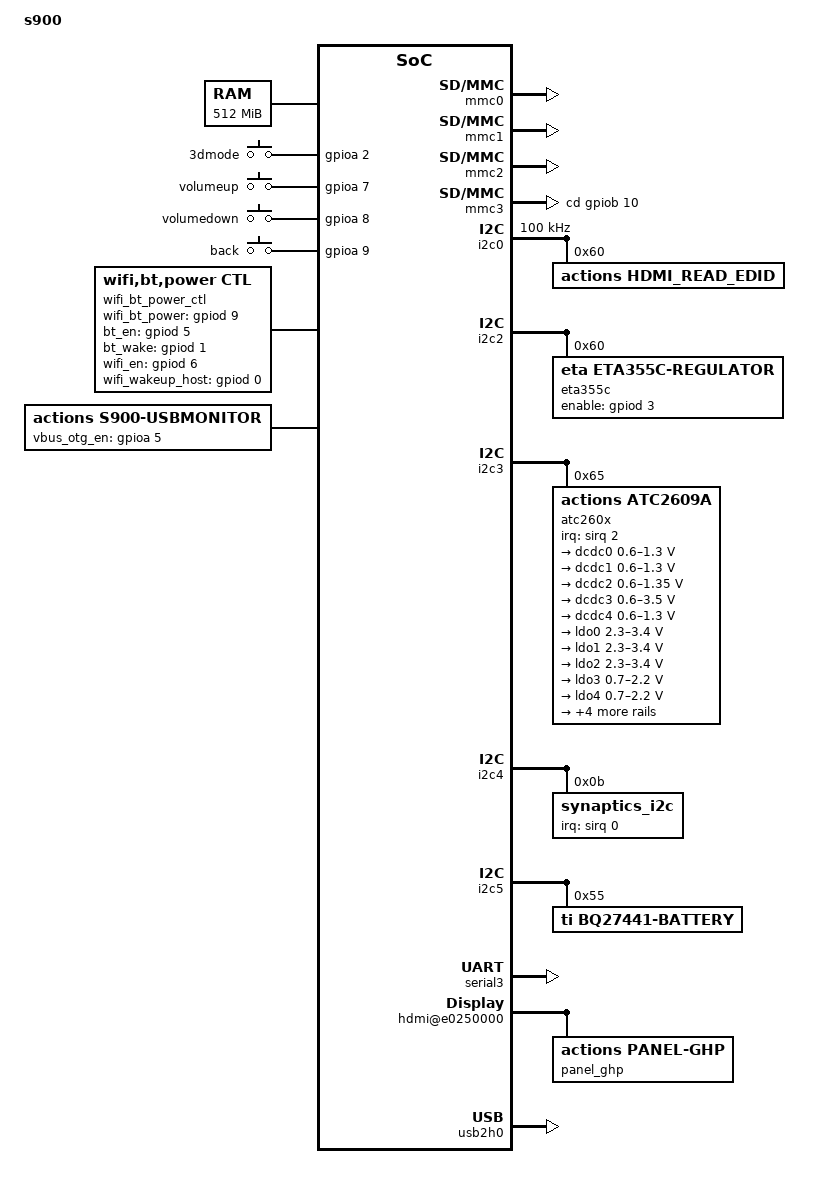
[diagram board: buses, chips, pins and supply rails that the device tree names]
/*
 * Copyright (C) 2014 Actions Semi. Inc
 *
 * This program is free software; you can redistribute it and/or
 * modify it under the terms of the GNU General Public License as
 * published by the Free Software Foundation version 2.
 *
 * This program is distributed "as is" WITHOUT ANY WARRANTY of any
 * kind, whether express or implied; without even the implied warranty
 * of MERCHANTABILITY or FITNESS FOR A PARTICULAR PURPOSE.  See the
 * GNU General Public License for more details.
 */

/dts-v1/;

/* reserve 48MB for logo(fb) */
/memreserve/ 0x19000000 0x03000000;

/* reserve 512MB for ion1(pmem) */
/memreserve/ 0x20000000 0x20000000;

/* reserve above 3.5G ddr space for system use only, can not be used by dma */
/memreserve/ 0x1E0000000 0x20000000;

/* reserve 4k for afinfo */
/memreserve/ 0x18FFF000 0x1000;

#include "s900.dtsi"

/ {
	model = "s900";
	compatible = "actions,s900", "actions,s900-evb";

	chosen {
		bootargs="fb_logo_reserve=0x19000000,0x03000000 console=ttyS5,115200 earlyprintk=serial-owl,0xe012a000 no_console_suspend loglevel=4";
	};

	memory@00000000 {
		device_type = "memory";
		reg = <0 0x00000000 0 0x20000000>;
	};

	ion_config {
		compatible = "actions,s900-ion";
		actions,ion_heap_pmem_base = <0x0 0x20000000>;
		actions,ion_heap_pmem_size = <0x0 0x20000000>;
		/* reserve above 3.5G ddr space for system use only, can not be used by dma */
		actions,ion_reserved_base = <0x1 0xE0000000>;
		actions,ion_reserved_size = <0x0 0x20000000>;
	};

	gpiod: gpiod@e01b0000 {
		pinctrl-names = "default";
		pinctrl-0 = <&pinctrl_gpio_lvds_o>;
	};

	pinctrl@e01b0000 {
		pinctrl_i2c4: i2c4 {
			i2c4_mfp {
				actions,groups = "mfp3_8";
				actions,function = "i2c4";
			};

			i2c4_pull {
				actions,pins = "P_UART4_RX", "P_UART4_TX";
				actions,pull = <2>;
			};
		};
		pinctrl_i2c5: i2c5 {
			i2c5_mfp {
				actions,groups = "mfp3_21_19", "mfp2_2_0";
				actions,function = "i2c5";
			};

			i2c5_pull {
				actions,pins = "P_UART0_TX", "P_UART0_RX";
				actions,pull = <2>;
			};
		};
		pinctrl_i2c3: i2c3 {
			i2c3_mfp {
				actions,groups = "mfp1_5_4";
				actions,function = "i2c3";
			};

			i2c3_pull {
				actions,pins = "P_SPI0_SCLK", "P_SPI0_MOSI";
				actions,pull = <2>;
			};
		};
	};


	mmc0: mmc@e0338000 {
		card-type = "emmc";
		status = "okay";
	};

	mmc1: mmc@e033c000 {
		card-type = "emmc";
		status = "okay";
	};

	mmc2: mmc@e0334000 {
		card-type = "wifi";
		wifi-card-voltage = "1.8v";  /* only: "1.8v", "3.1v" */
		status = "okay";
	};

	mmc3: mmc@e0330000 {
		card-type = "memory";  /* only: "memory", "wifi", or "emmc" */
		card-detect-mode = "gpio";  /* only: "sirq", "gpio", or "command" */
		cd-gpios = <&gpiob 10 0>; /* GPIOB10 */
		sd_vcc = "ldo0";
		status = "okay";
	};

	i2c0: i2c@e0170000 {
		clock-frequency = <100000>;
		status = "okay";
		hdmi_read_edid@60 {
			compatible = "actions,hdmi_read_edid";
			reg = <0x60>;
		};
	};

	i2c2: i2c@e0174000 {
		status = "okay";

		eta355c: eta355c-regulator {
			compatible = "eta,eta355c-regulator";
			reg = <0x60>;

			regulator-name = "eta355c";
			regulator-type = "voltage";
			regulator-min-microvolt = <700000>;
			regulator-max-microvolt = <1050000>;
			startup-delay-us = <1000>;	/* us */
			regulator-ramp-delay = <250>;	/* uV/us */
			enable-gpio = <&gpiod 3 0x4>;	/* GPIOD3 */
			enable-active-high;
		};
	};

	i2c3: i2c@e0176000 {
		pinctrl-names = "default";
		pinctrl-0 = <&pinctrl_i2c3>;
		status = "okay";
		/* atc2609a (5303) */
		atc260x: atc2609a@65 {
			compatible = "actions,atc2609a","actions,atc260x";
			reg = <0x65>;
			interrupt-parent = <&sirq>;
			interrupts = <2>;
			interrupt-controller;
			#interrupt-cells = <1>;

			losc_32k_output_enable = <1>;    /* enable/disable output 32.768K clock via AUXIN1 pin */

			pm {
				compatible = "actions,atc2609a-pm";
			};

			onoff {
				compatible = "actions,atc2609a-onoff";
			};

			rtc{
				compatible = "actions,atc2609a-rtc";
			};

			atc260x_gpio{
				compatible = "actions,atc2609a-gpio";
			};

			/*the cfg params must be read	in the first installed ko,
			 now snd-soc-atv5302.ko is first installed.
			 1, earphone_detect_level use the third value of earphone_gpios
			 2, commonly, we shouldn't change the value of speaker_gain and earphone_gain*/

			atc260x-audio{
				compatible = "actions,atc2609a-audio";
				status = "okay";
                                pinctrl-names = "default";
                                pinctrl-0 = <&i2s0_state_default>;
				clocks = <&clock CLK_AUDIO_PLL>, <&clock CLK_HDMI_AUDIO>;
				clock-names = "audio_pll", "hdmia";
				speaker_en_gpios = <&gpioa 19 1>; /*hr280ac GPIOA(19) 0: high, 1: low*/
				earphone_output_mode = <0>; /*0: direct mode, 1: undirect mode*/
				mic_num = <1>; /*just suport 1, 2*/
				mic0_gain = < 0x7 0x7 >; /*<Lchannel,Rchannel> [0x0~0xF]*/
				speaker_gain = < 0xaa 0xaa >; /*<Lchannel,Rchannel>[0x00~0xbebe]*/
				earphone_gain = < 0xbe 0xbe >; /*<Lchannel,Rchannel>[0x00~0xbebe]*/
				speaker_volume = < 0x28 0x28 >; /*volume [0x00~0x28]*/
				earphone_volume = < 0x28 0x28 >; /*volume [0x00~0x28]*/
				earphone_detect_mode = <0>;  /*0: polling,   1: interrupt*/
			};

			atc260x-hwmon{
				compatible = "actions,atc2609a-hwmon";
			};

			atc260x-charger{
				compatible = "actions,atc2609a-charger";
				rsense = <10>;/*unit:mohm*/
				bat_type = <3>;/*0:4.18v; 1:4.2v; 2:4.3v; 3:4.35v*/
				bl_on_current_usb_pc = <300>;
				bl_off_current_usb_pc = <500>;
				bl_on_current_usb_adp = <300>;
				bl_off_current_usb_adp = <800>;
				bl_on_current_wall_adp = <300>;
				bl_off_current_wall_adp = <1500>;
				wall_switch = <&gpioa 3 1>;/*GPIOA3,0: high, 1: low*/
				support_adaptor_type = <2>; /*1: DCIN  2: USB  3:DCIN+USB*/
				ext_charger = <0>;
				usb_adapter_as_ac = <1>;/*0:usb ada keep itself; 1:usb ada used as DCIN when usb plug and batv<3.3v during minicharge*/
				usb_pc_ctl_mode = <2>; /*0:disable vbus ctl;1:current limited;2:voltage limited*/
			};

			/* DCDC0       VDD_CORE
			 * DCDC1       VDD_CPU
			 * DCDC2       VDDR
			 * DCDC3       VCC
			 * DCDC4       VDD_CPUM
			 */
			dcdc0: dcdc0 {
				compatible = "actions,atc2609a-dcdc0","actions,atc2609a-dcdc";
				regulator-name = "dcdc0";
				regulator-min-microvolt = <600000>;
				regulator-max-microvolt = <1300000>;
				regulator-always-on;
			};

			dcdc1: dcdc1 {
				compatible = "actions,atc2609a-dcdc1","actions,atc2609a-dcdc";
				regulator-name = "dcdc1";
				regulator-min-microvolt = <600000>;
				regulator-max-microvolt = <1300000>;
				regulator-always-on;
			};

			dcdc2: dcdc2 {
				compatible = "actions,atc2609a-dcdc2","actions,atc2609a-dcdc";
				regulator-name = "dcdc2";
				regulator-min-microvolt = <600000>;
				regulator-max-microvolt = <1350000>;
				regulator-always-on;
			};

			dcdc3: dcdc3 {
				compatible = "actions,atc2609a-dcdc3","actions,atc2609a-dcdc";
				regulator-name = "dcdc3";
				regulator-min-microvolt = <600000>;
				regulator-max-microvolt = <3500000>;
				regulator-always-on;
			};

			dcdc4: dcdc4 {
				compatible = "actions,atc2609a-dcdc4","actions,atc2609a-dcdc";
				regulator-name = "dcdc4";
				regulator-min-microvolt = <600000>;
				regulator-max-microvolt = <1300000>;
				regulator-always-on;
			};

			/* LDO0        SD_VCC     
			 * LDO1        SENS_AVDD  
			 * LDO2        AVCC       
			 * LDO3        ATC2609_VDD   
			 * LDO4        AVCC_1V8   
			 * LDO6        AVDD_1V0   
			 * LDO7        SENS_DVDD  
			 * LDO8        TP_VCC     
			 * LDO9        RTC_VDD     */

			ldo0: ldo0{
				compatible = "actions,atc2609a-ldo0","actions,atc2609a-ldo";
				regulator-name = "ldo0";
				regulator-min-microvolt  = <2300000>;
				regulator-max-microvolt = <3400000>;
				regulator-always-on;
			};

			ldo1: ldo1{
				compatible = "actions,atc2609a-ldo1","actions,atc2609a-ldo";
				regulator-name = "ldo1";
				regulator-min-microvolt  = <2300000>;
				regulator-max-microvolt = <3400000>;
			};

			ldo2: ldo2{
				compatible = "actions,atc2609a-ldo2","actions,atc2609a-ldo";
				regulator-name = "ldo2";
				regulator-min-microvolt  = <2300000>;
				regulator-max-microvolt = <3400000>;
				regulator-always-on;
			};

			ldo3: ldo3{
				compatible = "actions,atc2609a-ldo3","actions,atc2609a-ldo";
				regulator-name = "ldo3";
				regulator-min-microvolt  = <700000>;
				regulator-max-microvolt = <2200000>;
				regulator-always-on;
			};

			ldo4: ldo4{
				compatible = "actions,atc2609a-ldo4","actions,atc2609a-ldo";
				regulator-name = "ldo4";
				regulator-min-microvolt  = <700000>;
				regulator-max-microvolt = <2200000>;
				regulator-always-on;
			};

			ldo6: ldo6{
				compatible = "actions,atc2609a-ldo6","actions,atc2609a-ldo";
				regulator-name = "ldo6";
				regulator-min-microvolt  = <850000>;
				regulator-max-microvolt = <2200000>;
				regulator-always-on;
			};

			ldo7: ldo7{
				compatible = "actions,atc2609a-ldo7","actions,atc2609a-ldo";
				regulator-name = "ldo7";
				regulator-min-microvolt  = <700000>;
				regulator-max-microvolt = <2200000>;
			};

			ldo8: ldo8{
				compatible = "actions,atc2609a-ldo8","actions,atc2609a-ldo";
				regulator-name = "ldo8";
				regulator-min-microvolt  = <2100000>;
				regulator-max-microvolt = <3300000>;
			};

			ldo9: ldo9{
				compatible = "actions,atc2609a-ldo9","actions,atc2609a-ldo";
				regulator-name = "ldo9";
				regulator-min-microvolt  = <2600000>;
				regulator-max-microvolt = <3300000>;
				regulator-always-on;
			};
		};
	};
	gpiokeys {
		compatible = "gpio-keys-polled";
		poll-interval = <20>;

		pinctrl-names = "default";
		pinctrl-0 = <&pinctrl_gpio_lvds_e>;

		3dmode {
			gpios = <&gpioa 2 0>; /* GPIOA2 */
			keycode = <249>;
			label = "3dmode";
		};
		volumeup {
			gpios = <&gpioa 7 0>; /* GPIOA9 */
			keycode = <115>;    /*KEY_VOLUMEUP*/
			label = "volumeup";
		};

		volumedown {
			gpios = <&gpioa 8 0>; /* GPIOA8 */
			keycode = <114>;    /*KEY_VOLUMEDOWN*/
			label = "volumedown";
		};

		back {
			gpios = <&gpioa 9 0>; /* GPIOA7 */
			keycode = <158>;
			label = "back";
		};
	};

	i2c4: i2c@e0178000 {
		pinctrl-names = "default";
		pinctrl-0 = <&pinctrl_i2c4>;
		status = "okay";

		synaptics_i2c@0b {
			compatible = "synaptics_i2c";
			reg = <0x0b>;
			tp_vcc = "ldo8";
			interrupt-parent = <&sirq>;
			interrupts = <0 0x4>;
			vol_range = <3100000 3110000>;
		};
	};
	
	i2c5: i2c@e017a000 {
		pinctrl-names = "default";
		pinctrl-0 = <&pinctrl_i2c5>;
		status = "okay";
		bq27441-battery@55 {
			compatible = "ti,bq27441-battery";
			reg = <0x55>;
			r_table = <99 99 86 83 82 81 84 86 82 82 96 105 92 86 81>;
			rsense = <10>;
			taper_cur = <150>;
			sleep_current = <14>;
			design_capacity = <3000>;
			term_vol = <3400>;
			taper_vol = <4300>;
			board_offset = <11>;
			cc_gain = <0x7e12aae2>;
			cc_delta = <0x9226d6c2>;
			log_switch = <0>;
		};
	};

	serial3: uart@e0126000 {
		dmas = <&dma DMA_DRQ_UART3_TX>, <&dma DMA_DRQ_UART3_RX>;
		dma-names = "tx", "rx";
		status = "okay";
	};

	edp: edp@e02e0000 {
		status = "disabled";
	};

	bluetooth_state_default:bluetooth_default {
		sgpio_pull {
			actions,pins = "P_SGPIO2";
			actions,pull = <2>;
		};
	};

	wifi_bt_power_ctl {
		compatible = "wifi,bt,power,ctl";
		wifi_bt_power_gpios = <&gpiod 9 0>; /*  GPIOd9 */
		bt_en_gpios = <&gpiod 5 0>;/*GPIOd5, high active*/  /*M3305 A17 reset pin*/
		bt_wake_gpio = <&gpiod 1 0>; /* GPIOd1*/
		wifi_en_gpios = <&gpiod 6 0>; /* GPIOd6*/
		wifi_wakeup_host_gpios = <&gpiod 0 0>; /* GPIOD0 */
		reg_wl_bt_vddio = "ldo7";
		wifi_bt_vddio_vol_range = <1800000 1810000>;
		pinctrl-names = "default";
		pinctrl-0 = <&bluetooth_state_default >;
	};

	hdmi@e0250000 {
		tmds-avdd-supply = <&ldo4>;

		hdcp_onoff = <0>;
		channel_invert = <0>;
		bit_invert = <0>;

		panel_ghp: hdmi_panel {
			compatible = "actions,panel-ghp";

			is_primary = <1>;

			draw_width = <2560>;
			draw_height = <1024>;

			videomode-0 = <&default_mode>;

			/* default mode used when EDID read error */
			default_mode: videomode {
				refresh_rate = <60>;

				xres = <2560>;
				yres = <1024>;
			};

		};
	};

	monitor {
		compatible = "actions,s900-usbmonitor";
		detect_type = <3>; /* config what to detect, 0:DISABLE ; 1:DEVICE_ONLY; 2:HOST_ONLY; 3: HOST_AND_DEVICE*/
		idpin_type   = <0>; /* 0:use ic's idpin;      1:soft idpin,##no support!##;       2:gpio idpin,use gpio to detect,need to add a "idpin_gpio" configuration */
		vbus_type   = <2>; /* 0:use ic's vbuspin; 1:gpio vbus,##no support!## ;      2:use dc5v to detect vbus level*/

		/*vbus_otg_en_gpio is use to turn on/off otg vbus,it's different from vbus detect gpio;*/
		vbus_otg_en_gpios = <&gpioa 5 0>;  /* GPIOA5,  1: low active; 0: high active */
		status = "okay";
	};

	owl_usb_config {
		compatible = "actions,owl-usb-config";
		usb_serialnumber_config = <1>; /* config serialnumber string format, 0: fixed serial no in ascii format; 1: fixed serial no in unicode format; 2:non-fixed serial no in unicode format*/
		usb_hs_output_strength = <3>; /*defaut:3,range:0~7; 0:min,7:max;usb high speed(2.0)transmitter output strength*/
		status = "okay";
	};

 	usb2h0: usb@e02b0000 {
		port_host_plug_detect = <2>;
		status = "okay";
	};

	usb2h1: usb@e02c0000 {
		status = "disabled";
	};

	gpu@e0600000 {
		gpu-supply = <&eta355c>;

		operating-points = <352000  875000
		                    528000 1000000>;
	};
};
